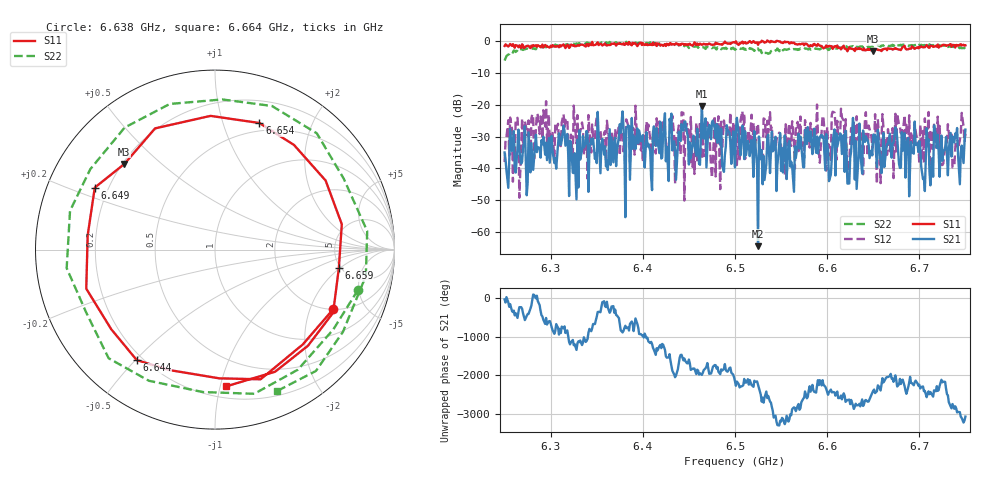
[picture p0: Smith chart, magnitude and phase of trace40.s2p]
# Hz S RI R 50
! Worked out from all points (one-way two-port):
!   401 points, 6.25 GHz to 6.75 GHz, reference 50 ohm
!   highest |S21| = -20.33 dB at 6.464 GHz (marker M1); lowest = -64.4 dB at 6.525 GHz (marker M2)
!   lowest |S11| = -3.2 dB at 6.65 GHz (marker M3), VSWR 5.55, Z = 10.4 + j19.1 ohm
!   |S11| at or under -10 dB: nowhere
!   |S22| runs from -6.1 to -0.1 dB; largest |S21 - S12| = 0.12
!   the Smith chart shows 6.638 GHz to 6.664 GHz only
!   S11 on the Smith chart (normalised r, x): 6.638 GHz: 2.00, -2.92; 6.644 GHz: 0.18, -0.50; 6.649 GHz: 0.15, +0.24; 6.654 GHz: 0.41, +1.33; 6.659 GHz: 4.79, -1.95; 6.664 GHz: 0.29, -1.04
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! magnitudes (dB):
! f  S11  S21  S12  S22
! 6.25 GHz  -1.5  -35.0  -38.0  -6.1
! 6.315 GHz  -1.6  -28.2  -27.1  -1.3
! 6.321 GHz  -1.8  -31.3  -35.7  -1.1
! 6.328 GHz  -1.5  -49.7  -32.2  -0.7
! 6.334 GHz  -1.1  -34.4  -25.6  -0.7
! 6.418 GHz  -0.9  -35.2  -25.2  -0.7
! 6.464 GHz  -1.1  -20.3  -37.1  -2.0
! 6.5 GHz  -0.4  -39.7  -26.6  -2.7
! 6.525 GHz  -1.1  -64.4  -26.2  -2.3
! 6.584 GHz  -1.6  -35.5  -28.0  -2.4
! 6.624 GHz  -1.9  -44.7  -38.1  -1.9
! 6.638 GHz  -2.6  -41.6  -30.6  -1.6
! 6.644 GHz  -2.4  -31.1  -36.1  -1.7
! 6.649 GHz  -2.5  -35.9  -33.7  -1.6
! 6.65 GHz  -3.2  -29.4  -31.0  -1.7
! 6.654 GHz  -2.5  -39.7  -44.9  -1.5
! 6.659 GHz  -3.1  -41.5  -30.2  -1.4
! 6.664 GHz  -2.3  -34.2  -30.4  -1.3
! 6.668 GHz  -2.4  -29.1  -34.6  -1.5
! 6.698 GHz  -1.9  -32.2  -31.6  -1.0
! 6.704 GHz  -1.9  -43.3  -28.2  -1.4
! 6.75 GHz  -1.3  -27.8  -29.1  -2.6
